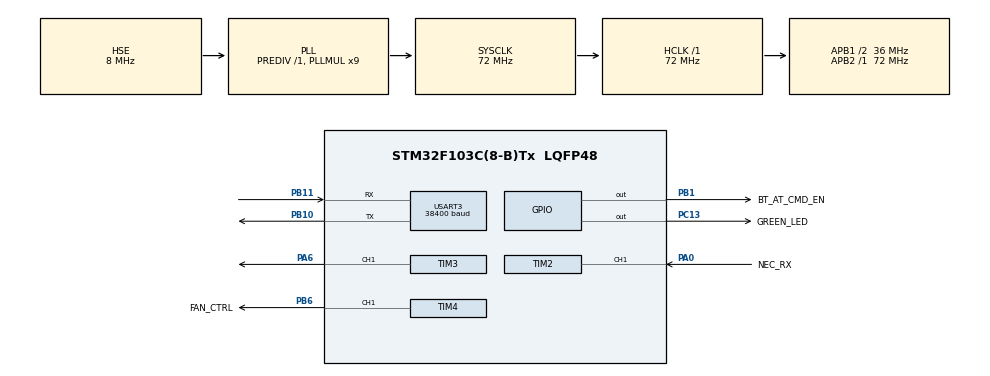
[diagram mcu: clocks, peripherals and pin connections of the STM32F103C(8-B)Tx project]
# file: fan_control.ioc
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Mcu.Family=STM32F1
Mcu.Name=STM32F103C(8-B)Tx
Mcu.Package=LQFP48
NVIC.PriorityGroup=NVIC_PRIORITYGROUP_4
NVIC.TIM2_IRQn=true\:0\:0\:false\:false\:true\:true\:true
NVIC.TIM3_IRQn=true\:0\:0\:true\:false\:true\:true\:true
NVIC.TIM4_IRQn=true\:0\:0\:true\:false\:true\:true\:true
NVIC.USART3_IRQn=true\:0\:0\:true\:false\:true\:true\:true
PA0-WKUP.GPIO_Label=NEC_RX
PA0-WKUP.Signal=S_TIM2_CH1_ETR
PA13.Mode=Serial_Wire
PA13.Signal=SYS_JTMS-SWDIO
PA14.Mode=Serial_Wire
PA14.Signal=SYS_JTCK-SWCLK
PA6.GPIO_PuPd=GPIO_PULLUP
PA6.Signal=S_TIM3_CH1
PB1.GPIO_Label=BT_AT_CMD_EN
PB1.GPIO_Speed=GPIO_SPEED_FREQ_MEDIUM
PB1.Signal=GPIO_Output
PB10.Mode=Asynchronous
PB10.Signal=USART3_TX
PB11.Mode=Asynchronous
PB11.Signal=USART3_RX
PB6.GPIO_Label=FAN_CTRL
PB6.Signal=S_TIM4_CH1
PC13-TAMPER-RTC.GPIO_Label=GREEN_LED
PC13-TAMPER-RTC.Signal=GPIO_Output
PD0-OSC_IN.Mode=HSE-External-Oscillator
PD0-OSC_IN.Signal=RCC_OSC_IN
PD1-OSC_OUT.Mode=HSE-External-Oscillator
PD1-OSC_OUT.Signal=RCC_OSC_OUT
ProjectManager.HeapSize=0x400
ProjectManager.StackSize=0x800
ProjectManager.TargetToolchain=MDK-ARM V5.32
RCC.AHBFreq_Value=72000000
RCC.APB1CLKDivider=RCC_HCLK_DIV2
RCC.APB1Freq_Value=36000000
RCC.APB1TimFreq_Value=72000000
RCC.APB2Freq_Value=72000000
RCC.APB2TimFreq_Value=72000000
RCC.HCLKFreq_Value=72000000
RCC.PLLMUL=RCC_PLL_MUL9
RCC.PLLSourceVirtual=RCC_PLLSOURCE_HSE
RCC.RTCClockSelection=RCC_RTCCLKSOURCE_LSE
RCC.SYSCLKFreq_VALUE=72000000
RCC.SYSCLKSource=RCC_SYSCLKSOURCE_PLLCLK
RCC.USBFreq_Value=48000000
RCC.USBPrescaler=RCC_USBCLKSOURCE_PLL_DIV1_5
SH.S_TIM2_CH1_ETR.0=TIM2_CH1,Input_Capture1_from_TI1
SH.S_TIM3_CH1.0=TIM3_CH1,PWM Generation1 CH1
SH.S_TIM4_CH1.0=TIM4_CH1,PWM Generation1 CH1
TIM2.AutoReloadPreload=TIM_AUTORELOAD_PRELOAD_ENABLE
TIM2.Channel-Input_Capture1_from_TI1=TIM_CHANNEL_1
TIM2.Channel-Input_Capture2_from_TI1_63=TIM_CHANNEL_2
TIM2.ICPolarity_CH2=TIM_INPUTCHANNELPOLARITY_FALLING
TIM2.Period=0xFFFF
TIM2.Prescaler=71
TIM3.AutoReloadPreload=TIM_AUTORELOAD_PRELOAD_ENABLE
TIM3.Channel-PWM\ Generation1\ CH1=TIM_CHANNEL_1
TIM3.CounterMode=TIM_COUNTERMODE_UP
TIM3.Period=0x0766
TIM3.Prescaler=0
TIM4.AutoReloadPreload=TIM_AUTORELOAD_PRELOAD_DISABLE
TIM4.Channel-PWM\ Generation1\ CH1=TIM_CHANNEL_1
TIM4.OCPolarity_1=TIM_OCPOLARITY_HIGH
TIM4.Period=0xFFFF
TIM4.Prescaler=179
USART3.BaudRate=38400
USART3.VirtualMode=VM_ASYNC
VP_TIM2_VS_ClockSourceINT.Mode=Internal
VP_TIM2_VS_indirect_ch1.Mode=Input_Capture2_from_TI1_63
VP_TIM3_VS_ClockSourceINT.Mode=Internal
VP_TIM4_VS_ClockSourceINT.Mode=Internal
board=custom

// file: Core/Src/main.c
/* USER CODE BEGIN Header */
/**
  ******************************************************************************
  * @file           : main.c
  * @brief          : Main program body
  ******************************************************************************
  * @attention
  *
  * Copyright (c) 2023 STMicroelectronics.
  * All rights reserved.
  *
  * This software is licensed under terms that can be found in the LICENSE file
  * in the root directory of this software component.
  * If no LICENSE file comes with this software, it is provided AS-IS.
  *
  ******************************************************************************
  */
/* USER CODE END Header */
#include "main.h"
#include "tim.h"
#include "usart.h"
#include "gpio.h"

/* USER CODE BEGIN Includes */
#include "bt_usart.h"
#include "bluetooth.h"
#include "bt_user_control.h"
#include "ir_NEC_remote_control.h"
#include "nec_decode.h"
/* USER CODE END Includes */

void SystemClock_Config(void);

int main(void)
{

  /* MCU Configuration--------------------------------------------------------*/

  /* Reset of all peripherals, Initializes the Flash interface and the Systick. */
  HAL_Init();

  /* Configure the system clock */
  SystemClock_Config();

  /* Initialize all configured peripherals */
  MX_GPIO_Init();
  MX_TIM3_Init();
  MX_TIM4_Init();
  MX_USART3_UART_Init();
  MX_TIM2_Init();
  /* USER CODE BEGIN 2 */
  Ringbuf_init();
  //IrDA_Ringbuf_init();
  HC_05_init();
  CommandBuf_init();
  IrRemoteControInit();
  NEC_Init();
  HAL_TIM_Base_Start_IT(&htim4); // запуск таймера ШиМ вентилятора
  HAL_TIM_PWM_Start(&htim4, TIM_CHANNEL_1); // включаем первый канал таймера
  TIM4->CCR1=0x7FFF; // зададим начальную скважность ШиМ 50%
  uint8_t arr[] = {0x4D,0xB2,0xF8,0x07,0x10,0xEF};
  /* USER CODE END 2 */

  /* Infinite loop */
  /* USER CODE BEGIN WHILE */
  while (1)
  {
    bt_user_control();
    NEC_Task();

    IrSendMessage(6, arr, 1);
    HAL_Delay(1000);
    /* USER CODE END WHILE */

  }
}

void SystemClock_Config(void)
{
  RCC_OscInitTypeDef RCC_OscInitStruct = {0};
  RCC_ClkInitTypeDef RCC_ClkInitStruct = {0};

  /** Initializes the RCC Oscillators according to the specified parameters
  * in the RCC_OscInitTypeDef structure.
  */
  RCC_OscInitStruct.OscillatorType = RCC_OSCILLATORTYPE_HSE;
  RCC_OscInitStruct.HSEState = RCC_HSE_ON;
  RCC_OscInitStruct.HSEPredivValue = RCC_HSE_PREDIV_DIV1;
  RCC_OscInitStruct.HSIState = RCC_HSI_ON;
  RCC_OscInitStruct.PLL.PLLState = RCC_PLL_ON;
  RCC_OscInitStruct.PLL.PLLSource = RCC_PLLSOURCE_HSE;
  RCC_OscInitStruct.PLL.PLLMUL = RCC_PLL_MUL9;
  if (HAL_RCC_OscConfig(&RCC_OscInitStruct) != HAL_OK)
  {
    Error_Handler();
  }
  /** Initializes the CPU, AHB and APB buses clocks
  */
  RCC_ClkInitStruct.ClockType = RCC_CLOCKTYPE_HCLK|RCC_CLOCKTYPE_SYSCLK
                              |RCC_CLOCKTYPE_PCLK1|RCC_CLOCKTYPE_PCLK2;
  RCC_ClkInitStruct.SYSCLKSource = RCC_SYSCLKSOURCE_PLLCLK;
  RCC_ClkInitStruct.AHBCLKDivider = RCC_SYSCLK_DIV1;
  RCC_ClkInitStruct.APB1CLKDivider = RCC_HCLK_DIV2;
  RCC_ClkInitStruct.APB2CLKDivider = RCC_HCLK_DIV1;

  if (HAL_RCC_ClockConfig(&RCC_ClkInitStruct, FLASH_LATENCY_2) != HAL_OK)
  {
    Error_Handler();
  }
}

/* USER CODE BEGIN 4 */
void HAL_TIM_PeriodElapsedCallback(TIM_HandleTypeDef *htim)
{
  if ( htim->Instance == TIM1 )
  {
  }
  else if ( htim->Instance == TIM2 )
  {
    necDecodeCallback();
  }
  else if ( htim->Instance == TIM3 )
  {
    IrRemoteControlCallback();
  }
  else if ( htim->Instance == TIM4 )
  {
  }
}
/* USER CODE END 4 */

void Error_Handler(void)
{
  __disable_irq();
  while (1)
  {
  }
}
